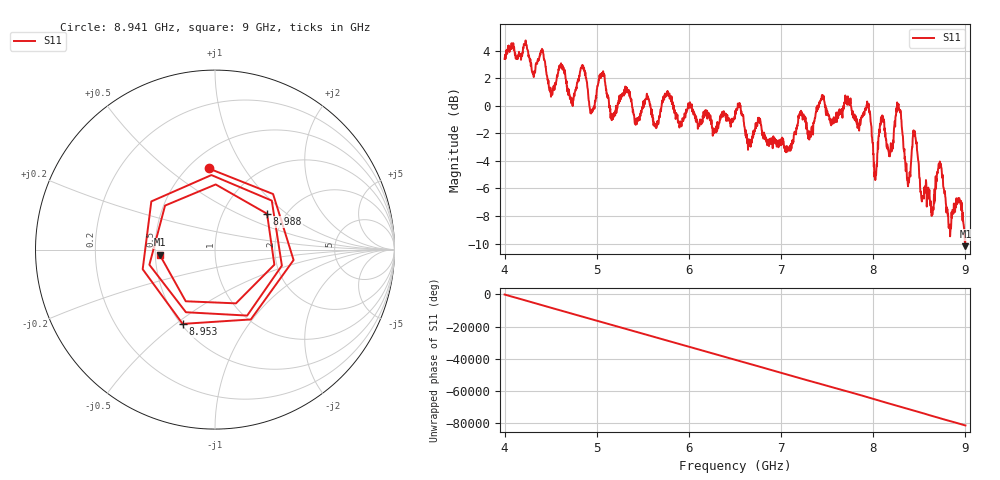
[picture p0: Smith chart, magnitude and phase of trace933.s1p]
! Created with skrf 1.8.0 (http://scikit-rf.org).
# Hz S RI R 50.0
!freq ReS11 ImS11
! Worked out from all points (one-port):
!   1601 points, 4 GHz to 9 GHz, reference 50 ohm
!   lowest |S11| = -10.2 dB at 9 GHz (marker M1), VSWR 1.90, Z = 26.4 - j1.68 ohm
!   |S11| at or under -10 dB: 8.999019 GHz to end of sweep
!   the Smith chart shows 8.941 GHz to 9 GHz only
!   S11 on the Smith chart (normalised r, x): 8.941 GHz: 0.62, +0.71; 8.953 GHz: 0.51, -0.53; 8.988 GHz: 1.61, +0.73; 9 GHz: 0.53, -0.03
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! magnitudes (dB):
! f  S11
! 4 GHz  3.4
! 4.509 GHz  1.0
! 4.625 GHz  3.0
! 4.725 GHz  0.2
! 4.844 GHz  2.8
! 4.944 GHz  -0.5
! 5.053 GHz  2.3
! 5.162 GHz  -1.0
! 5.25 GHz  0.3
! 5.875 GHz  -0.7
! 6.5 GHz  -0.9
! 7.125 GHz  -2.8
! 7.75 GHz  0.1
! 7.944 GHz  0.0
! 8.022 GHz  -5.4
! 8.091 GHz  -1.1
! 8.188 GHz  -3.1
! 8.275 GHz  0.1
! 8.375 GHz  -5.7
! 8.447 GHz  -1.9
! 8.534 GHz  -6.6
! 8.644 GHz  -7.8
! 8.719 GHz  -4.3
! 8.822 GHz  -8.7
! 8.941 GHz  -6.9
! 8.953 GHz  -6.9
! 8.988 GHz  -9.1
! 9 GHz  -10.2
